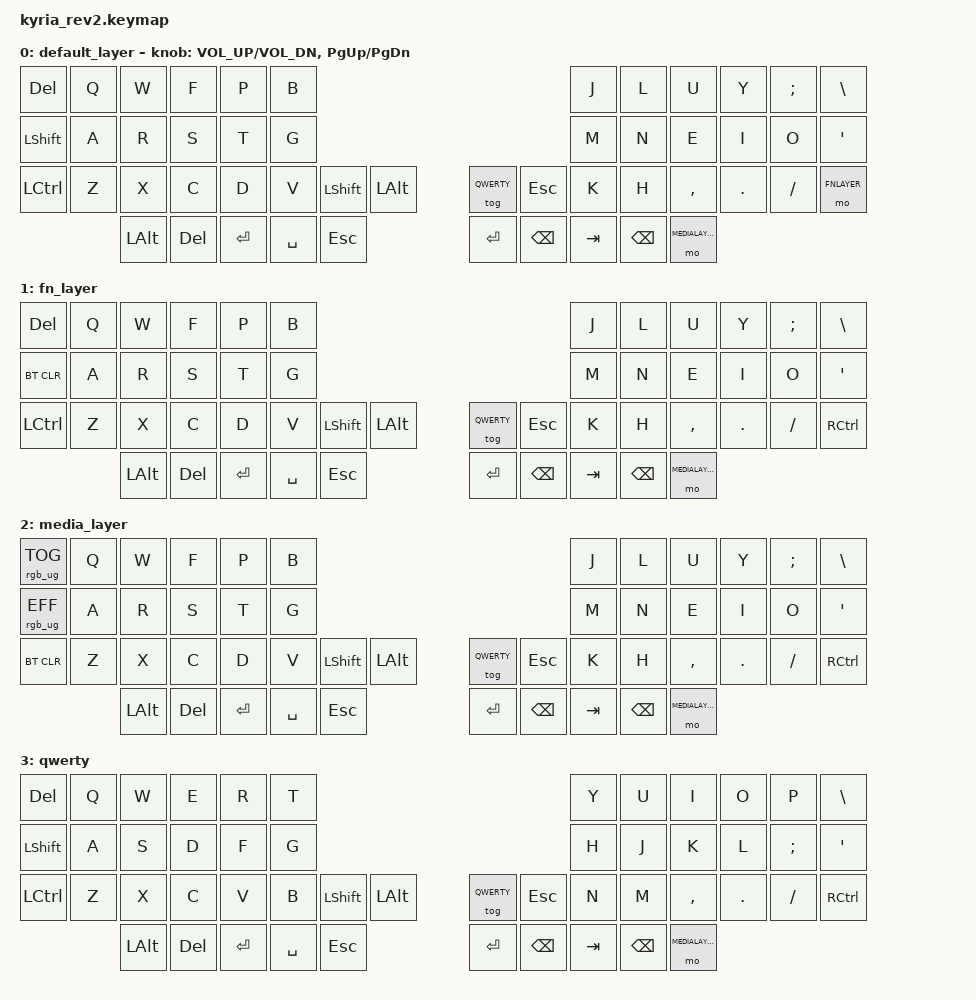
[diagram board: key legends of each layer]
/*
 * Copyright (c) 2020 The ZMK Contributors
 *
 * SPDX-License-Identifier: MIT
 */

#include <behaviors.dtsi>
#include <dt-bindings/zmk/keys.h>
#include <dt-bindings/zmk/bt.h>
#include <dt-bindings/led/led.h>
#include <dt-bindings/zmk/rgb.h>

#define DEFAULT 0
#define FNLAYER 1
#define MEDIALAYER 2
#define QWERTY 3

&pinctrl {
    spi3_default: spi3_default {
        group1 {
            psels = <NRF_PSEL(SPIM_MOSI, 0, 6)>;
        };
    };

    spi3_sleep: spi3_sleep {
        group1 {
            psels = <NRF_PSEL(SPIM_MOSI, 0, 6)>;
            low-power-enable;
        };
    };
};

&spi3 {
  compatible = "nordic,nrf-spim";
  status = "okay";

  pinctrl-0 = <&spi3_default>;
  pinctrl-1 = <&spi3_sleep>;
  pinctrl-names = "default", "sleep";

  led_strip: ws2812@0 {
    compatible = "worldsemi,ws2812-spi";
    label = "WS2812";

    /* SPI */
    reg = <0>; /* ignored, but necessary for SPI bindings */
    spi-max-frequency = <4000000>;

    /* WS2812 */
    chain-length = <10>; /* number of LEDs */
    spi-one-frame = <0x70>;
    spi-zero-frame = <0x40>;
    color-mapping = <LED_COLOR_ID_GREEN
                          LED_COLOR_ID_RED
                          LED_COLOR_ID_BLUE>;
  };
};

/ {
	keymap {
		compatible = "zmk,keymap";
		default_layer {
// ---------------------------------------------------------------------------------------------------------------------------------
// |  ESC  |  Q  |  W  |  E   |  R   |  T   |                                          |  Y   |  U    |  I    |  O   |   P   |   \  |
// |  TAB  |  A  |  S  |  D   |  F   |  G   |                                          |  H   |  J    |  K    |  L   |   ;   |   '  |
// | BT_CLR|  Z  |  X  |  C   |  V   |  B   | L SHIFT | L SHIFT |  | L SHIFT | L SHIFT |  N   |  M    |  ,    |  .   |   /   | CTRL |
//                     | GUI  | DEL  | RET  |  SPACE  |   ESC   |  |   RET   |  SPACE  | TAB  | BSPC  | R-ALT |
			bindings = <
	&kp DEL   &kp Q &kp W &kp F &kp P &kp B                                               &kp J &kp L  &kp U  &kp Y   &kp SEMI &kp BSLH
	&kp LSHIFT &kp A &kp R &kp S &kp T &kp G                                              &kp M &kp N  &kp E  &kp I   &kp O    &kp SQT
	&kp LCTL  &kp Z &kp X &kp C &kp D &kp V &kp LSHFT &kp LALT      	   &tog QWERTY &kp ESC &kp K &kp H  &kp COMMA &kp DOT &kp FSLH &mo FNLAYER
	                 &kp LALT &kp DEL &kp RET &kp SPACE &kp ESC        &kp RET  &kp BSPC  &kp TAB &kp BSPC &mo MEDIALAYER
			>;

			sensor-bindings = <&inc_dec_kp C_VOL_UP C_VOL_DN &inc_dec_kp PG_UP PG_DN>;
		};

        fn_layer
        {
			bindings = <
	&kp DEL   &kp Q &kp W &kp F &kp P &kp B                                                 &kp J &kp L  &kp U  &kp Y   &kp SEMI &kp BSLH
	&bt BT_CLR  &kp A &kp R &kp S &kp T &kp G                                               &kp M &kp N  &kp E  &kp I   &kp O    &kp SQT
	&kp LCTL   &kp Z &kp X &kp C &kp D &kp V &kp LSHFT &kp LALT         &tog QWERTY &kp ESC &kp K &kp H  &kp COMMA &kp DOT &kp FSLH &kp RCTRL
	                 &kp LALT &kp DEL &kp RET &kp SPACE &kp ESC         &kp RET  &kp BSPC  &kp TAB &kp BSPC &mo MEDIALAYER
			>;
        };
    
        media_layer
        {
			bindings = <
	&rgb_ug RGB_TOG  &kp Q &kp W &kp F &kp P &kp B                                           &kp J &kp L  &kp U  &kp Y   &kp SEMI &kp BSLH
	&rgb_ug RGB_EFF &kp A &kp R &kp S &kp T &kp G                                            &kp M &kp N  &kp E  &kp I   &kp O    &kp SQT
	&bt BT_CLR &kp Z &kp X &kp C &kp D &kp V &kp LSHFT &kp LALT         &tog QWERTY &kp ESC &kp K &kp H  &kp COMMA &kp DOT &kp FSLH &kp RCTRL
	                 &kp LALT &kp DEL &kp RET &kp SPACE &kp ESC         &kp RET  &kp BSPC  &kp TAB &kp BSPC &mo MEDIALAYER
			>;
        };

        qwerty
        {
            bindings = <
	&kp DEL    &kp Q &kp W &kp E &kp R &kp T                                               &kp Y &kp U  &kp I  &kp O  &kp P &kp BSLH
	&kp LSHIFT &kp A &kp S &kp D &kp F &kp G                                               &kp H &kp J  &kp K  &kp L   &kp SEMI &kp SQT
	&kp LCTL   &kp Z &kp X &kp C &kp V &kp B &kp LSHFT &kp LALT         &tog QWERTY &kp ESC &kp N &kp M  &kp COMMA &kp DOT &kp FSLH &kp RCTRL
	                 &kp LALT &kp DEL &kp RET &kp SPACE &kp ESC         &kp RET  &kp BSPC  &kp TAB &kp BSPC &mo MEDIALAYER
            >;
        };
	};
};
